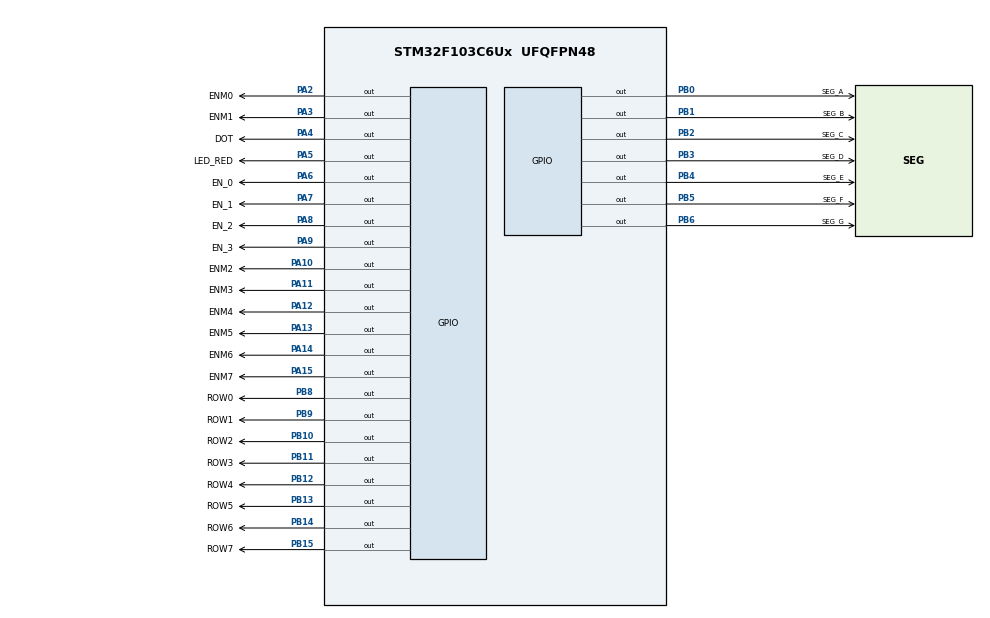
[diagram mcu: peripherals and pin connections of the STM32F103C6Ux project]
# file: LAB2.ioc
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Mcu.Family=STM32F1
Mcu.Name=STM32F103C6Ux
Mcu.Package=UFQFPN48
NVIC.PriorityGroup=NVIC_PRIORITYGROUP_4
NVIC.TIM2_IRQn=true\:0\:0\:false\:false\:true\:true\:true
PA10.GPIO_Label=ENM2
PA10.Signal=GPIO_Output
PA11.GPIO_Label=ENM3
PA11.Signal=GPIO_Output
PA12.GPIO_Label=ENM4
PA12.Signal=GPIO_Output
PA13.GPIO_Label=ENM5
PA13.Signal=GPIO_Output
PA14.GPIO_Label=ENM6
PA14.Signal=GPIO_Output
PA15.GPIO_Label=ENM7
PA15.Signal=GPIO_Output
PA2.GPIO_Label=ENM0
PA2.Signal=GPIO_Output
PA3.GPIO_Label=ENM1
PA3.Signal=GPIO_Output
PA4.GPIO_Label=DOT
PA4.Signal=GPIO_Output
PA5.GPIO_Label=LED_RED
PA5.Signal=GPIO_Output
PA6.GPIO_Label=EN_0
PA6.Signal=GPIO_Output
PA7.GPIO_Label=EN_1
PA7.Signal=GPIO_Output
PA8.GPIO_Label=EN_2
PA8.Signal=GPIO_Output
PA9.GPIO_Label=EN_3
PA9.Signal=GPIO_Output
PB0.GPIO_Label=SEG_A
PB0.Signal=GPIO_Output
PB1.GPIO_Label=SEG_B
PB1.Signal=GPIO_Output
PB10.GPIO_Label=ROW2
PB10.Signal=GPIO_Output
PB11.GPIO_Label=ROW3
PB11.Signal=GPIO_Output
PB12.GPIO_Label=ROW4
PB12.Signal=GPIO_Output
PB13.GPIO_Label=ROW5
PB13.Signal=GPIO_Output
PB14.GPIO_Label=ROW6
PB14.Signal=GPIO_Output
PB15.GPIO_Label=ROW7
PB15.Signal=GPIO_Output
PB2.GPIO_Label=SEG_C
PB2.Signal=GPIO_Output
PB3.GPIO_Label=SEG_D
PB3.Signal=GPIO_Output
PB4.GPIO_Label=SEG_E
PB4.Signal=GPIO_Output
PB5.GPIO_Label=SEG_F
PB5.Signal=GPIO_Output
PB6.GPIO_Label=SEG_G
PB6.Signal=GPIO_Output
PB8.GPIO_Label=ROW0
PB8.Signal=GPIO_Output
PB9.GPIO_Label=ROW1
PB9.Signal=GPIO_Output
ProjectManager.HeapSize=0x200
ProjectManager.StackSize=0x400
ProjectManager.TargetToolchain=STM32CubeIDE
RCC.APB1Freq_Value=8000000
RCC.APB2Freq_Value=8000000
TIM2.Period=9
TIM2.Prescaler=7999
VP_SYS_VS_ND.Mode=No_Debug
VP_TIM2_VS_ClockSourceINT.Mode=Internal
board=custom

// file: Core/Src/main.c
/* USER CODE BEGIN Header */
/**
  ******************************************************************************
  * @file           : main.c
  * @brief          : Main program body
  ******************************************************************************
  * @attention
  *
  * <h2><center>&copy; Copyright (c) 2023 STMicroelectronics.
  * All rights reserved.</center></h2>
  *
  * This software component is licensed by ST under BSD 3-Clause license,
  * the "License"; You may not use this file except in compliance with the
  * License. You may obtain a copy of the License at:
  *                        opensource.org/licenses/BSD-3-Clause
  *
  ******************************************************************************
  */
/* USER CODE END Header */
#include "main.h"

/* USER CODE BEGIN Includes */
int timer0_counter = 0;
int timer0_flag = 0;

int timer1_counter = 0;
int timer1_flag = 0;

int timer2_counter = 0;
int timer2_flag = 0;

int timer3_counter = 0;
int timer3_flag = 0;

int timer4_counter = 0;
int timer4_flag = 0;

int TIMER_CYCLE = 10;
/* USER CODE END Includes */

TIM_HandleTypeDef htim2;

void SystemClock_Config(void);
static void MX_GPIO_Init(void);
static void MX_TIM2_Init(void);

/* USER CODE BEGIN 0 */
void HAL_TIM_PeriodElapsedCallback(TIM_HandleTypeDef *htim);

const int MAX_LED_MATRIX = 8;
int index_led_matrix = 0;
uint8_t matrix_buffer[8] = {0x01, 0x02, 0x03, 0x04, 0x05, 0x06, 0x07, 0x08};

void displayLEDMatrix(uint8_t value) {
	switch(value) {
	case 0x00:
		HAL_GPIO_WritePin(ROW0_GPIO_Port, ROW0_Pin, SET);
		HAL_GPIO_WritePin(ROW1_GPIO_Port, ROW1_Pin, SET);
		HAL_GPIO_WritePin(ROW2_GPIO_Port, ROW2_Pin, SET);
		HAL_GPIO_WritePin(ROW3_GPIO_Port, ROW3_Pin, SET);
		HAL_GPIO_WritePin(ROW4_GPIO_Port, ROW4_Pin, SET);
		HAL_GPIO_WritePin(ROW5_GPIO_Port, ROW5_Pin, SET);
		HAL_GPIO_WritePin(ROW6_GPIO_Port, ROW6_Pin, SET);
		HAL_GPIO_WritePin(ROW7_GPIO_Port, ROW7_Pin, SET);
		break;
	case 0xc0:
		HAL_GPIO_WritePin(ROW0_GPIO_Port, ROW0_Pin, SET);
		HAL_GPIO_WritePin(ROW1_GPIO_Port, ROW1_Pin, SET);
		HAL_GPIO_WritePin(ROW2_GPIO_Port, ROW2_Pin, RESET);
		HAL_GPIO_WritePin(ROW3_GPIO_Port, ROW3_Pin, RESET);
		HAL_GPIO_WritePin(ROW4_GPIO_Port, ROW4_Pin, RESET);
		HAL_GPIO_WritePin(ROW5_GPIO_Port, ROW5_Pin, RESET);
		HAL_GPIO_WritePin(ROW6_GPIO_Port, ROW6_Pin, RESET);
		HAL_GPIO_WritePin(ROW7_GPIO_Port, ROW7_Pin, RESET);
		break;
	case 0x80:
		HAL_GPIO_WritePin(ROW0_GPIO_Port, ROW0_Pin, SET);
		HAL_GPIO_WritePin(ROW1_GPIO_Port, ROW1_Pin, RESET);
		HAL_GPIO_WritePin(ROW2_GPIO_Port, ROW2_Pin, RESET);
		HAL_GPIO_WritePin(ROW3_GPIO_Port, ROW3_Pin, RESET);
		HAL_GPIO_WritePin(ROW4_GPIO_Port, ROW4_Pin, RESET);
		HAL_GPIO_WritePin(ROW5_GPIO_Port, ROW5_Pin, RESET);
		HAL_GPIO_WritePin(ROW6_GPIO_Port, ROW6_Pin, RESET);
		HAL_GPIO_WritePin(ROW7_GPIO_Port, ROW7_Pin, RESET);
		break;
	case 0x33:
		HAL_GPIO_WritePin(ROW0_GPIO_Port, ROW0_Pin, RESET);
		HAL_GPIO_WritePin(ROW1_GPIO_Port, ROW1_Pin, RESET);
		HAL_GPIO_WritePin(ROW2_GPIO_Port, ROW2_Pin, SET);
		HAL_GPIO_WritePin(ROW3_GPIO_Port, ROW3_Pin, SET);
		HAL_GPIO_WritePin(ROW4_GPIO_Port, ROW4_Pin, RESET);
		HAL_GPIO_WritePin(ROW5_GPIO_Port, ROW5_Pin, RESET);
		HAL_GPIO_WritePin(ROW6_GPIO_Port, ROW6_Pin, SET);
		HAL_GPIO_WritePin(ROW7_GPIO_Port, ROW7_Pin, SET);
		break;
	default:
		HAL_GPIO_WritePin(ROW0_GPIO_Port, ROW0_Pin, SET);
		HAL_GPIO_WritePin(ROW1_GPIO_Port, ROW1_Pin, SET);
		HAL_GPIO_WritePin(ROW2_GPIO_Port, ROW2_Pin, SET);
		HAL_GPIO_WritePin(ROW3_GPIO_Port, ROW3_Pin, SET);
		HAL_GPIO_WritePin(ROW4_GPIO_Port, ROW4_Pin, SET);
		HAL_GPIO_WritePin(ROW5_GPIO_Port, ROW5_Pin, SET);
		HAL_GPIO_WritePin(ROW6_GPIO_Port, ROW6_Pin, SET);
		HAL_GPIO_WritePin(ROW7_GPIO_Port, ROW7_Pin, SET);
		break;
	}
}

void updateLEDMatrix(int index) {
	switch(index) {
		case 0:
			HAL_GPIO_WritePin(ENM0_GPIO_Port, ENM0_Pin, RESET);
			HAL_GPIO_WritePin(ENM1_GPIO_Port, ENM1_Pin, SET);
			HAL_GPIO_WritePin(ENM2_GPIO_Port, ENM2_Pin, SET);
			HAL_GPIO_WritePin(ENM3_GPIO_Port, ENM3_Pin, SET);
			HAL_GPIO_WritePin(ENM4_GPIO_Port, ENM4_Pin, SET);
			HAL_GPIO_WritePin(ENM5_GPIO_Port, ENM5_Pin, SET);
			HAL_GPIO_WritePin(ENM6_GPIO_Port, ENM6_Pin, SET);
			HAL_GPIO_WritePin(ENM7_GPIO_Port, ENM7_Pin, SET);
			break;
		case 1:
			HAL_GPIO_WritePin(ENM0_GPIO_Port, ENM0_Pin, SET);
			HAL_GPIO_WritePin(ENM1_GPIO_Port, ENM1_Pin, RESET);
			HAL_GPIO_WritePin(ENM2_GPIO_Port, ENM2_Pin, SET);
			HAL_GPIO_WritePin(ENM3_GPIO_Port, ENM3_Pin, SET);
			HAL_GPIO_WritePin(ENM4_GPIO_Port, ENM4_Pin, SET);
			HAL_GPIO_WritePin(ENM5_GPIO_Port, ENM5_Pin, SET);
			HAL_GPIO_WritePin(ENM6_GPIO_Port, ENM6_Pin, SET);
			HAL_GPIO_WritePin(ENM7_GPIO_Port, ENM7_Pin, SET);
			break;
		case 2:
			HAL_GPIO_WritePin(ENM0_GPIO_Port, ENM0_Pin, SET);
			HAL_GPIO_WritePin(ENM1_GPIO_Port, ENM1_Pin, SET);
			HAL_GPIO_WritePin(ENM2_GPIO_Port, ENM2_Pin, RESET);
			HAL_GPIO_WritePin(ENM3_GPIO_Port, ENM3_Pin, SET);
			HAL_GPIO_WritePin(ENM4_GPIO_Port, ENM4_Pin, SET);
			HAL_GPIO_WritePin(ENM5_GPIO_Port, ENM5_Pin, SET);
			HAL_GPIO_WritePin(ENM6_GPIO_Port, ENM6_Pin, SET);
			HAL_GPIO_WritePin(ENM7_GPIO_Port, ENM7_Pin, SET);
			break;
		case 3:
			HAL_GPIO_WritePin(ENM0_GPIO_Port, ENM0_Pin, SET);
			HAL_GPIO_WritePin(ENM1_GPIO_Port, ENM1_Pin, SET);
			HAL_GPIO_WritePin(ENM2_GPIO_Port, ENM2_Pin, SET);
			HAL_GPIO_WritePin(ENM3_GPIO_Port, ENM3_Pin, RESET);
			HAL_GPIO_WritePin(ENM4_GPIO_Port, ENM4_Pin, SET);
			HAL_GPIO_WritePin(ENM5_GPIO_Port, ENM5_Pin, SET);
			HAL_GPIO_WritePin(ENM6_GPIO_Port, ENM6_Pin, SET);
			HAL_GPIO_WritePin(ENM7_GPIO_Port, ENM7_Pin, SET);
			break;
		case 4:
			HAL_GPIO_WritePin(ENM0_GPIO_Port, ENM0_Pin, SET);
			HAL_GPIO_WritePin(ENM1_GPIO_Port, ENM1_Pin, SET);
			HAL_GPIO_WritePin(ENM2_GPIO_Port, ENM2_Pin, SET);
			HAL_GPIO_WritePin(ENM3_GPIO_Port, ENM3_Pin, SET);
			HAL_GPIO_WritePin(ENM4_GPIO_Port, ENM4_Pin, RESET);
			HAL_GPIO_WritePin(ENM5_GPIO_Port, ENM5_Pin, SET);
			HAL_GPIO_WritePin(ENM6_GPIO_Port, ENM6_Pin, SET);
			HAL_GPIO_WritePin(ENM7_GPIO_Port, ENM7_Pin, SET);
			break;
		case 5:
			HAL_GPIO_WritePin(ENM0_GPIO_Port, ENM0_Pin, SET);
			HAL_GPIO_WritePin(ENM1_GPIO_Port, ENM1_Pin, SET);
			HAL_GPIO_WritePin(ENM2_GPIO_Port, ENM2_Pin, SET);
			HAL_GPIO_WritePin(ENM3_GPIO_Port, ENM3_Pin, SET);
			HAL_GPIO_WritePin(ENM4_GPIO_Port, ENM4_Pin, SET);
			HAL_GPIO_WritePin(ENM5_GPIO_Port, ENM5_Pin, RESET);
			HAL_GPIO_WritePin(ENM6_GPIO_Port, ENM6_Pin, SET);
			HAL_GPIO_WritePin(ENM7_GPIO_Port, ENM7_Pin, SET);
			break;
		case 6:
			HAL_GPIO_WritePin(ENM0_GPIO_Port, ENM0_Pin, SET);
			HAL_GPIO_WritePin(ENM1_GPIO_Port, ENM1_Pin, SET);
			HAL_GPIO_WritePin(ENM2_GPIO_Port, ENM2_Pin, SET);
			HAL_GPIO_WritePin(ENM3_GPIO_Port, ENM3_Pin, SET);
			HAL_GPIO_WritePin(ENM4_GPIO_Port, ENM4_Pin, SET);
			HAL_GPIO_WritePin(ENM5_GPIO_Port, ENM5_Pin, SET);
			HAL_GPIO_WritePin(ENM6_GPIO_Port, ENM6_Pin, RESET);
			HAL_GPIO_WritePin(ENM7_GPIO_Port, ENM7_Pin, SET);
			break;
		case 7:
			HAL_GPIO_WritePin(ENM0_GPIO_Port, ENM0_Pin, SET);
			HAL_GPIO_WritePin(ENM1_GPIO_Port, ENM1_Pin, SET);
			HAL_GPIO_WritePin(ENM2_GPIO_Port, ENM2_Pin, SET);
			HAL_GPIO_WritePin(ENM3_GPIO_Port, ENM3_Pin, SET);
			HAL_GPIO_WritePin(ENM4_GPIO_Port, ENM4_Pin, SET);
			HAL_GPIO_WritePin(ENM5_GPIO_Port, ENM5_Pin, SET);
			HAL_GPIO_WritePin(ENM6_GPIO_Port, ENM6_Pin, SET);
			HAL_GPIO_WritePin(ENM7_GPIO_Port, ENM7_Pin, RESET);
			break;
		default:
			HAL_GPIO_WritePin(ENM0_GPIO_Port, ENM0_Pin, SET);
			HAL_GPIO_WritePin(ENM1_GPIO_Port, ENM1_Pin, SET);
			HAL_GPIO_WritePin(ENM2_GPIO_Port, ENM2_Pin, SET);
			HAL_GPIO_WritePin(ENM3_GPIO_Port, ENM3_Pin, SET);
			HAL_GPIO_WritePin(ENM4_GPIO_Port, ENM4_Pin, SET);
			HAL_GPIO_WritePin(ENM5_GPIO_Port, ENM5_Pin, SET);
			HAL_GPIO_WritePin(ENM6_GPIO_Port, ENM6_Pin, SET);
			HAL_GPIO_WritePin(ENM7_GPIO_Port, ENM7_Pin, SET);
			break;
	}
	displayLEDMatrix(matrix_buffer[index]);
}

void shiftLeft() {
	uint8_t first = matrix_buffer[0];
	for (int i = 0; i < 7; ++i) {
		matrix_buffer[i] = matrix_buffer[i+1];
	}
	matrix_buffer[7] = first;
}
/* USER CODE END 0 */

int main(void)
{

  /* MCU Configuration--------------------------------------------------------*/

  /* Reset of all peripherals, Initializes the Flash interface and the Systick. */
  HAL_Init();

  /* Configure the system clock */
  SystemClock_Config();

  /* Initialize all configured peripherals */
  MX_GPIO_Init();
  MX_TIM2_Init();
  /* USER CODE BEGIN 2 */
  HAL_TIM_Base_Start_IT (&htim2);
  /* USER CODE END 2 */

  /* Infinite loop */
  /* USER CODE BEGIN WHILE */
//  int counterDOT = 0;
  int hour = 18, minute = 7, second = 39;
  int index_led = 0;
//  setTimer0(1000);
  //setTimer for first time timer_flag change to 1
  setTimer0(100); //timer for LED-RED, turn on every second
  setTimer1(100); //timer for 4 LED 7SEG, switch every 250ms
  setTimer2(100); //timer for colon, display every 500ms
  setTimer3(100);
  setTimer4(100);

  matrix_buffer[0] = 0x00;
  matrix_buffer[1] = 0xc0;
  matrix_buffer[2] = 0x80;
  matrix_buffer[3] = 0x33;
  matrix_buffer[4] = 0x33;
  matrix_buffer[5] = 0x80;
  matrix_buffer[6] = 0xc0;
  matrix_buffer[7] = 0x00;

  while (1)
  {
    /* USER CODE END WHILE */
	  if ( timer0_flag == 1) {
	  		  HAL_GPIO_TogglePin ( LED_RED_GPIO_Port, LED_RED_Pin ) ;
	  		  setTimer0 (1000) ;
	  		  second++;
	  		  if (second >= 60) {
	  			  second = 0;
	  			  minute++;
	  		  }

	  		  if (minute >= 60) {
	  			  minute = 0;
	  			  hour++;
	  		  }

	  		  if (hour >= 24) {
	  			  hour = 0;
	  		  }
	  		  updateClockBuffer();
	  	  }

	  if ( timer1_flag == 1) {
		  update7SEG(index_led++);
		  if (index_led >= 4) index_led = 0;
		  setTimer1(250);
	  }

	  if ( timer2_flag == 1) {
		  HAL_GPIO_TogglePin ( DOT_GPIO_Port, DOT_Pin ) ;
		  setTimer2 (500) ;
	  }

	  if ( timer3_flag == 1) {
		  updateLEDMatrix(index_led_matrix++);
		  if (index_led_matrix >= 8) index_led_matrix = 0;
		  setTimer3(50);
	  }
	  if ( timer4_flag == 1) {
	  		  shiftLeft();
	  		  setTimer4(8*50);
	  }
  }
}

void SystemClock_Config(void)
{
  RCC_OscInitTypeDef RCC_OscInitStruct = {0};
  RCC_ClkInitTypeDef RCC_ClkInitStruct = {0};

  /** Initializes the RCC Oscillators according to the specified parameters
  * in the RCC_OscInitTypeDef structure.
  */
  RCC_OscInitStruct.OscillatorType = RCC_OSCILLATORTYPE_HSI;
  RCC_OscInitStruct.HSIState = RCC_HSI_ON;
  RCC_OscInitStruct.HSICalibrationValue = RCC_HSICALIBRATION_DEFAULT;
  RCC_OscInitStruct.PLL.PLLState = RCC_PLL_NONE;
  if (HAL_RCC_OscConfig(&RCC_OscInitStruct) != HAL_OK)
  {
    Error_Handler();
  }
  /** Initializes the CPU, AHB and APB buses clocks
  */
  RCC_ClkInitStruct.ClockType = RCC_CLOCKTYPE_HCLK|RCC_CLOCKTYPE_SYSCLK
                              |RCC_CLOCKTYPE_PCLK1|RCC_CLOCKTYPE_PCLK2;
  RCC_ClkInitStruct.SYSCLKSource = RCC_SYSCLKSOURCE_HSI;
  RCC_ClkInitStruct.AHBCLKDivider = RCC_SYSCLK_DIV1;
  RCC_ClkInitStruct.APB1CLKDivider = RCC_HCLK_DIV1;
  RCC_ClkInitStruct.APB2CLKDivider = RCC_HCLK_DIV1;

  if (HAL_RCC_ClockConfig(&RCC_ClkInitStruct, FLASH_LATENCY_0) != HAL_OK)
  {
    Error_Handler();
  }
}

static void MX_TIM2_Init(void)
{

  TIM_ClockConfigTypeDef sClockSourceConfig = {0};
  TIM_MasterConfigTypeDef sMasterConfig = {0};

  htim2.Instance = TIM2;
  htim2.Init.Prescaler = 7999;
  htim2.Init.CounterMode = TIM_COUNTERMODE_UP;
  htim2.Init.Period = 9;
  htim2.Init.ClockDivision = TIM_CLOCKDIVISION_DIV1;
  htim2.Init.AutoReloadPreload = TIM_AUTORELOAD_PRELOAD_DISABLE;
  if (HAL_TIM_Base_Init(&htim2) != HAL_OK)
  {
    Error_Handler();
  }
  sClockSourceConfig.ClockSource = TIM_CLOCKSOURCE_INTERNAL;
  if (HAL_TIM_ConfigClockSource(&htim2, &sClockSourceConfig) != HAL_OK)
  {
    Error_Handler();
  }
  sMasterConfig.MasterOutputTrigger = TIM_TRGO_RESET;
  sMasterConfig.MasterSlaveMode = TIM_MASTERSLAVEMODE_DISABLE;
  if (HAL_TIMEx_MasterConfigSynchronization(&htim2, &sMasterConfig) != HAL_OK)
  {
    Error_Handler();
  }

}

static void MX_GPIO_Init(void)
{
  GPIO_InitTypeDef GPIO_InitStruct = {0};

  /* GPIO Ports Clock Enable */
  __HAL_RCC_GPIOA_CLK_ENABLE();
  __HAL_RCC_GPIOB_CLK_ENABLE();

  /*Configure GPIO pin Output Level */
  HAL_GPIO_WritePin(GPIOA, ENM0_Pin|ENM1_Pin|DOT_Pin|LED_RED_Pin
                          |EN_0_Pin|EN_1_Pin|EN_2_Pin|EN_3_Pin
                          |ENM2_Pin|ENM3_Pin|ENM4_Pin|ENM5_Pin
                          |ENM6_Pin|ENM7_Pin, GPIO_PIN_RESET);

  /*Configure GPIO pin Output Level */
  HAL_GPIO_WritePin(GPIOB, SEG_A_Pin|SEG_B_Pin|SEG_C_Pin|ROW2_Pin
                          |ROW3_Pin|ROW4_Pin|ROW5_Pin|ROW6_Pin
                          |ROW7_Pin|SEG_D_Pin|SEG_E_Pin|SEG_F_Pin
                          |SEG_G_Pin|ROW0_Pin|ROW1_Pin, GPIO_PIN_RESET);

  /*Configure GPIO pins : ENM0_Pin ENM1_Pin DOT_Pin LED_RED_Pin
                           EN_0_Pin EN_1_Pin EN_2_Pin EN_3_Pin
                           ENM2_Pin ENM3_Pin ENM4_Pin ENM5_Pin
                           ENM6_Pin ENM7_Pin */
  GPIO_InitStruct.Pin = ENM0_Pin|ENM1_Pin|DOT_Pin|LED_RED_Pin
                          |EN_0_Pin|EN_1_Pin|EN_2_Pin|EN_3_Pin
                          |ENM2_Pin|ENM3_Pin|ENM4_Pin|ENM5_Pin
                          |ENM6_Pin|ENM7_Pin;
  GPIO_InitStruct.Mode = GPIO_MODE_OUTPUT_PP;
  GPIO_InitStruct.Pull = GPIO_NOPULL;
  GPIO_InitStruct.Speed = GPIO_SPEED_FREQ_LOW;
  HAL_GPIO_Init(GPIOA, &GPIO_InitStruct);

  /*Configure GPIO pins : SEG_A_Pin SEG_B_Pin SEG_C_Pin ROW2_Pin
                           ROW3_Pin ROW4_Pin ROW5_Pin ROW6_Pin
                           ROW7_Pin SEG_D_Pin SEG_E_Pin SEG_F_Pin
                           SEG_G_Pin ROW0_Pin ROW1_Pin */
  GPIO_InitStruct.Pin = SEG_A_Pin|SEG_B_Pin|SEG_C_Pin|ROW2_Pin
                          |ROW3_Pin|ROW4_Pin|ROW5_Pin|ROW6_Pin
                          |ROW7_Pin|SEG_D_Pin|SEG_E_Pin|SEG_F_Pin
                          |SEG_G_Pin|ROW0_Pin|ROW1_Pin;
  GPIO_InitStruct.Mode = GPIO_MODE_OUTPUT_PP;
  GPIO_InitStruct.Pull = GPIO_NOPULL;
  GPIO_InitStruct.Speed = GPIO_SPEED_FREQ_LOW;
  HAL_GPIO_Init(GPIOB, &GPIO_InitStruct);

}

/* USER CODE BEGIN 4 */
void HAL_TIM_PeriodElapsedCallback(TIM_HandleTypeDef *htim){
	timer_run();
}
/* USER CODE END 4 */

void Error_Handler(void)
{
  __disable_irq();
  while (1)
  {
  }
}

/************************ (C) COPYRIGHT STMicroelectronics *****END OF FILE****/
